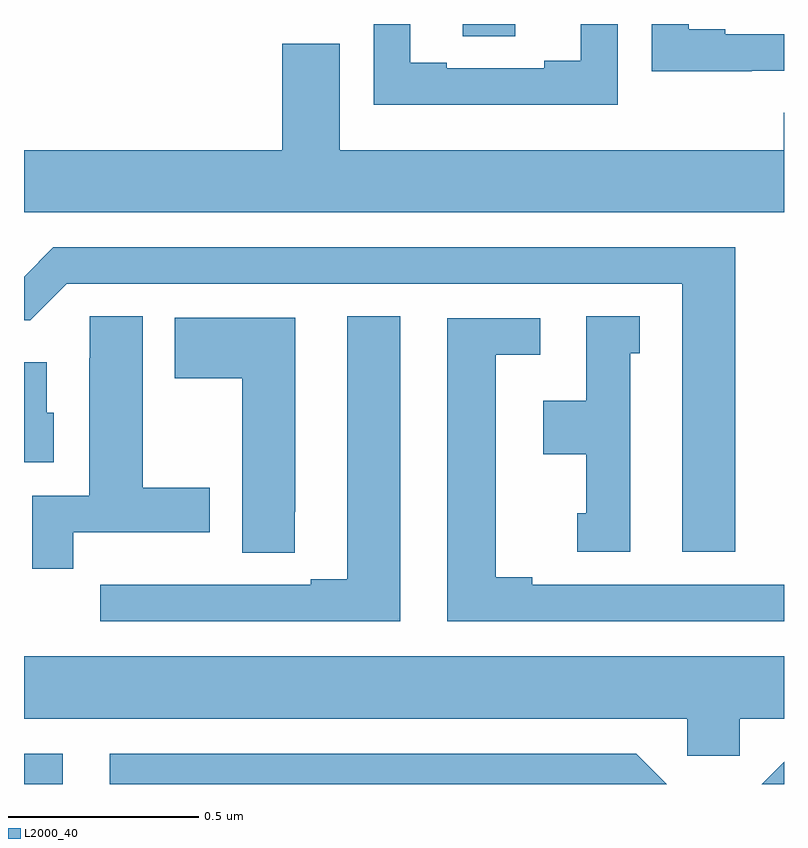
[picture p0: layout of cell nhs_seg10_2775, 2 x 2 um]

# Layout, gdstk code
import gdstk
lib = gdstk.Library(unit=1e-6, precision=1e-09)
def R(c, l, rs):  # rectangles x0, y0, x1, y1
    for r in rs: c.add(gdstk.rectangle(r[:2], r[2:], *l))
def P(c, l, *ps):  # polygons
    for p in ps: c.add(gdstk.Polygon(p, *l))
L2000_40 = (2000, 40)

nhs_seg10_2775 = lib.new_cell('nhs_seg10_2775')
R(nhs_seg10_2775, L2000_40, [(145,1277.5,145.102,1277.58), (146.154,1279.468,146.293,1279.5)])
P(nhs_seg10_2775, L2000_40, [(146.915,1279.377),(147,1279.377),(147,1279.473),(146.845,1279.473),(146.845,1279.486),(146.749,1279.486),(146.749,1279.5),(146.652,1279.5),(146.652,1279.376),(146.915,1279.376)],
  [(146.562,1279.5),(146.465,1279.5),(146.465,1279.403),(146.369,1279.403),(146.369,1279.383),(146.113,1279.383),(146.113,1279.398),(146.017,1279.398),(146.017,1279.5),(145.92,1279.5),(145.92,1279.287),(146.562,1279.287)],
  [(147,1279.266),(146.999,1279.266),(146.999,1279.168),(145.831,1279.168),(145.831,1279.448),(145.679,1279.448),(145.679,1279.168),(145,1279.168),(145,1279.004),(147,1279.004)],
  [(146.872,1278.912),(145.077,1278.912),(145,1278.835),(145,1278.72),(145.017,1278.72),(145.113,1278.816),(146.732,1278.816),(146.732,1278.111),(146.872,1278.111)],
  [(145.99,1278.731),(145.85,1278.731),(145.85,1278.039),(145.754,1278.039),(145.754,1278.024),(145.478,1278.024),(145.478,1278.025),(145.312,1278.025),(145.312,1278.024),(145.2,1278.024),(145.2,1277.928),(145.99,1277.928)],
  [(146.596,1278.633),(146.62,1278.633),(146.62,1278.731),(146.48,1278.731),(146.48,1278.508),(146.366,1278.508),(146.366,1278.368),(146.48,1278.368),(146.48,1278.213),(146.456,1278.213),(146.456,1278.111),(146.596,1278.111)],
  [(145.13,1278.162),(145.489,1278.162),(145.489,1278.279),(145.312,1278.279),(145.312,1278.731),(145.173,1278.731),(145.173,1278.62),(145.172,1278.62),(145.172,1278.258),(145.022,1278.258),(145.022,1278.066),(145.13,1278.066)],
  [(145.713,1278.217),(145.714,1278.217),(145.714,1278.727),(145.397,1278.727),(145.397,1278.568),(145.574,1278.568),(145.574,1278.109),(145.713,1278.109)],
  [(147,1278.024),(146.338,1278.024),(146.338,1278.044),(146.242,1278.044),(146.242,1278.63),(146.359,1278.63),(146.359,1278.726),(146.114,1278.726),(146.114,1277.928),(147,1277.928)],
  [(145.078,1278.477),(145.06,1278.477),(145.06,1278.61),(145,1278.61),(145,1278.347),(145.078,1278.347)],
  [(146.883,1277.672),(147,1277.672),(147,1277.836),(145,1277.836),(145,1277.672),(146.745,1277.672),(146.745,1277.574),(146.883,1277.574)],
  [(146.611,1277.58),(145.226,1277.58),(145.226,1277.5),(146.691,1277.5)],
  [(147,1277.559),(146.941,1277.5),(147,1277.5)])

lib.write_gds('nhs_seg10_2775.gds')
